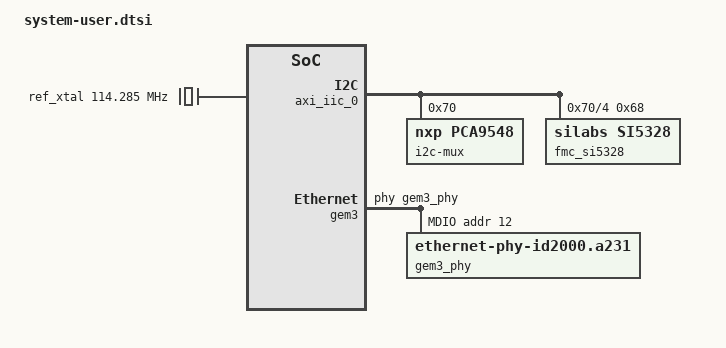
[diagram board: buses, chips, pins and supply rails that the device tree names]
// SPDX-License-Identifier: MIT
// Copyright (C) 2025-2026, Opsero Electronic Design Inc.  All rights reserved.

/*
 * SoC-side board fixups for zcu106 (ZynqMP), layered on top of the
 * gen-machineconf / lopper-generated Linux device tree (which already carries
 * the PS config and the design's PL hardware from the XSA). Scoped to the Linux
 * domain by device-tree.bbappend. Ported from the Quad SFP28 FMC (XXV) PetaLinux BSP.
 */

/ {
	ref_xtal: ref_xtal {
		compatible = "fixed-clock";
		#clock-cells = <0>;
		clock-frequency = <114285000>;
	};
};

&axi_iic_0 {
    i2c-mux@70 {
        compatible = "nxp,pca9548";
        #address-cells = <1>;
        #size-cells = <0>;
        reg = <0x70>;
		i2c@0 {
			#address-cells = <1>;
			#size-cells = <0>;
			reg = <0>;
			/* SFP28 slot 0 */
		};
		i2c@1 {
			#address-cells = <1>;
			#size-cells = <0>;
			reg = <1>;
			/* SFP28 slot 1 */
		};
		i2c@2 {
			#address-cells = <1>;
			#size-cells = <0>;
			reg = <2>;
			/* SFP28 slot 2 */
		};
		i2c@3 {
			#address-cells = <1>;
			#size-cells = <0>;
			reg = <3>;
			/* SFP28 slot 3 */
		};
		i2c@4 {
			#address-cells = <1>;
			#size-cells = <0>;
			reg = <4>;
			fmc_si5328: clock-generator@68 {
				compatible = "silabs,si5328";
				reg = <0x68>;
				#address-cells = <1>;
				#size-cells = <0>;
				#clock-cells = <1>;
				clocks = <&ref_xtal>;
				clock-names = "xtal";
				clock-output-names = "si5328";

				fmc_si5328_clk: clk0@0 {
					reg = <0>;
					clock-frequency = <156250000>;
				};
			};
		};
    };
};

/* 2025.2 gen-machineconf assigns port-number=0 to uart1, making ttyPS0 map
 * to uart1. Vitis bsp.yaml confirms this board uses psu_uart_0, so force
 * ttyPS0 back to uart0. */
&uart0 {
   port-number = <0>;
};
&uart1 {
   port-number = <1>;
};
/ {
   aliases {
      serial0 = &uart0;
      serial1 = &uart1;
   };
   chosen {
      stdout-path = "serial0:115200n8";
   };
};

/* PS GEM3 (board RJ45): the SDT flow does not describe the board-level
 * TI DP83867 PHY, so Linux falls back to the Generic PHY driver and the
 * RGMII clock delays are never programmed - the link negotiates 1G but
 * passes no packets. Values from the official zynqmp-zcu106-revA.dts
 * (PHY at MDIO address 0xc). The fixed MAC replaces the random one the
 * SDT flow leaves us with, keeping DHCP leases stable across boots.
 */
&gem3 {
	local-mac-address = [00 0a 35 06 21 07];
	phy-handle = <&gem3_phy>;
	mdio {
		#address-cells = <1>;
		#size-cells = <0>;
		gem3_phy: ethernet-phy@c {
			compatible = "ethernet-phy-id2000.a231";
			reg = <0xc>;
			ti,rx-internal-delay = <0x8>;
			ti,tx-internal-delay = <0xa>;
			ti,fifo-depth = <0x1>;
			ti,dp83867-rxctrl-strap-quirk;
		};
	};
};
